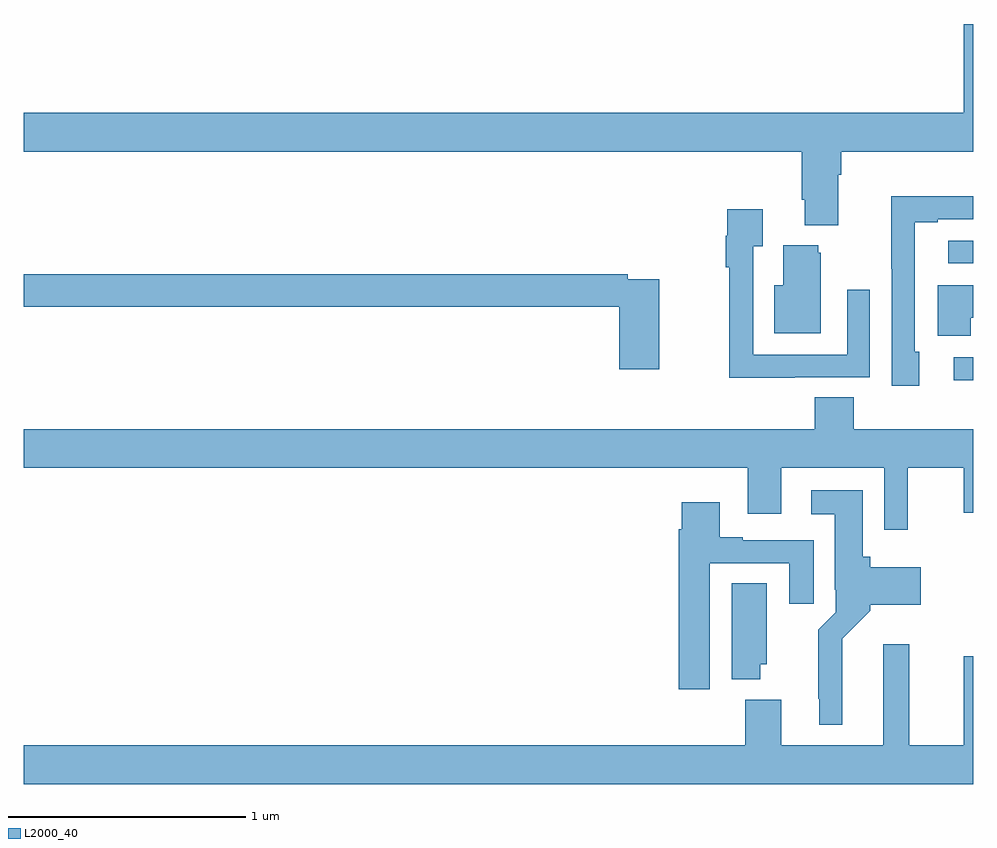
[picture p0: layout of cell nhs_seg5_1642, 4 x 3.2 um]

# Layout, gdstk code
import gdstk
lib = gdstk.Library(unit=1e-6, precision=1e-09)
def R(c, l, rs):  # rectangles x0, y0, x1, y1
    for r in rs: c.add(gdstk.rectangle(r[:2], r[2:], *l))
def P(c, l, *ps):  # polygons
    for p in ps: c.add(gdstk.Polygon(p, *l))
L2000_40 = (2000, 40)

nhs_seg5_1642 = lib.new_cell('nhs_seg5_1642')
R(nhs_seg5_1642, L2000_40, [(212.919,905.081,213,905.178), (212.895,905.574,213,905.67)])
P(nhs_seg5_1642, L2000_40, [(212.431,905.948),(212.444,905.948),(212.444,906.044),(213,906.044),(213,906.583),(212.96,906.583),(212.96,906.208),(209,906.208),(209,906.044),(212.279,906.044),(212.279,905.842),(212.291,905.842),(212.291,905.735),(212.431,905.735)],
  [(212.773,905.202),(212.754,905.202),(212.754,905.748),(212.851,905.748),(212.851,905.76),(213,905.76),(213,905.858),(212.656,905.858),(212.656,905.551),(212.658,905.551),(212.658,905.058),(212.773,905.058)],
  [(212.249,905.094),(212.565,905.094),(212.565,905.464),(212.469,905.464),(212.469,905.19),(212.073,905.19),(212.073,905.647),(212.113,905.647),(212.113,905.803),(211.965,905.803),(211.965,905.69),(211.957,905.69),(211.957,905.558),(211.972,905.558),(211.972,905.093),(212.249,905.093)],
  [(212.359,905.619),(212.348,905.619),(212.348,905.65),(212.201,905.65),(212.201,905.482),(212.162,905.482),(212.162,905.279),(212.359,905.279)],
  [(211.678,905.508),(211.544,905.508),(211.544,905.528),(209,905.528),(209,905.392),(211.508,905.392),(211.508,905.127),(211.678,905.127)],
  [(212.991,905.346),(213,905.346),(213,905.482),(212.852,905.482),(212.852,905.27),(212.991,905.27)],
  [(212.724,904.712),(212.96,904.712),(212.96,904.524),(213,904.524),(213,904.876),(212.498,904.876),(212.498,905.009),(212.333,905.009),(212.333,904.876),(209,904.876),(209,904.712),(212.051,904.712),(212.051,904.518),(212.191,904.518),(212.191,904.712),(212.625,904.712),(212.625,904.452),(212.724,904.452)],
  [(212.449,903.992),(212.567,904.11),(212.567,904.136),(212.779,904.136),(212.779,904.294),(212.567,904.294),(212.567,904.338),(212.536,904.338),(212.536,904.618),(212.319,904.618),(212.319,904.517),(212.417,904.517),(212.417,904.198),(212.421,904.198),(212.421,904.104),(212.347,904.03),(212.347,903.739),(212.351,903.739),(212.351,903.629),(212.449,903.629)],
  [(211.891,904.311),(212.225,904.311),(212.225,904.14),(212.329,904.14),(212.329,904.407),(212.029,904.407),(212.029,904.42),(211.933,904.42),(211.933,904.567),(211.772,904.567),(211.772,904.454),(211.76,904.454),(211.76,903.78),(211.891,903.78)],
  [(212.104,903.885),(212.131,903.885),(212.131,904.226),(211.982,904.226),(211.982,903.821),(212.104,903.821)],
  [(213,903.919),(212.96,903.919),(212.96,903.544),(212.731,903.544),(212.731,903.97),(212.621,903.97),(212.621,903.544),(212.191,903.544),(212.191,903.736),(212.039,903.736),(212.039,903.544),(209,903.544),(209,903.38),(213,903.38)])

lib.write_gds('nhs_seg5_1642.gds')
